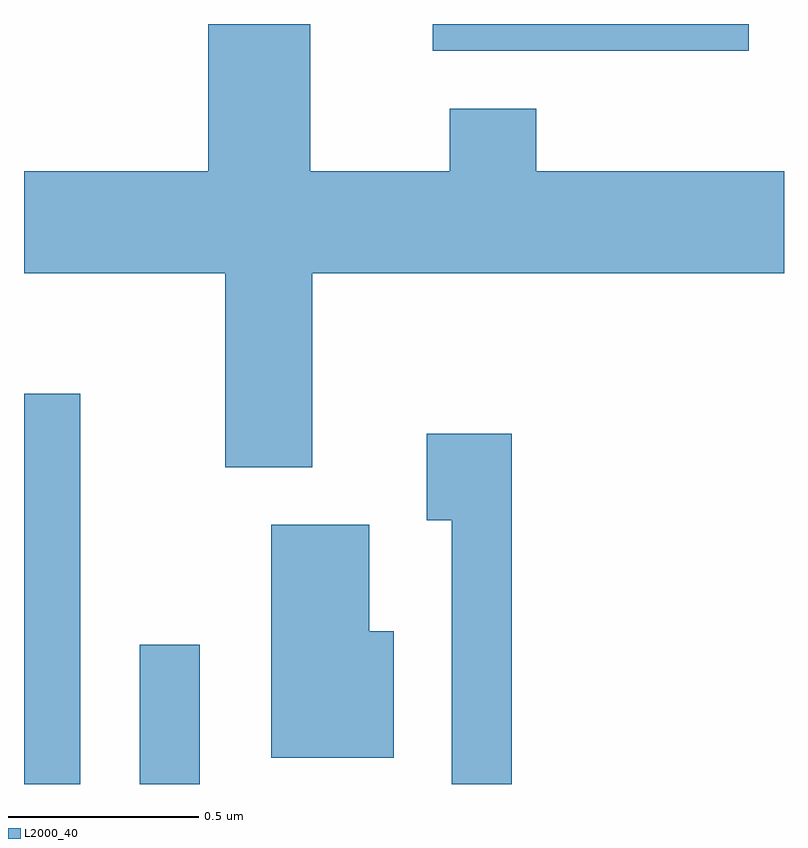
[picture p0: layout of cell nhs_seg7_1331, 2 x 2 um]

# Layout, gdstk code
import gdstk
lib = gdstk.Library(unit=1e-6, precision=1e-09)
def R(c, l, rs):  # rectangles x0, y0, x1, y1
    for r in rs: c.add(gdstk.rectangle(r[:2], r[2:], *l))
def P(c, l, *ps):  # polygons
    for p in ps: c.add(gdstk.Polygon(p, *l))
L2000_40 = (2000, 40)

nhs_seg7_1331 = lib.new_cell('nhs_seg7_1331')
R(nhs_seg7_1331, L2000_40, [(194.611,1766.252,194.759,1767.279), (194.916,1766.252,195.074,1766.618), (195.686,1768.181,196.518,1768.252)])
P(nhs_seg7_1331, L2000_40, [(195.369,1767.596),(196.611,1767.596),(196.611,1767.864),(195.959,1767.864),(195.959,1768.029),(195.731,1768.029),(195.731,1767.864),(195.364,1767.864),(195.364,1768.252),(195.096,1768.252),(195.096,1767.864),(194.611,1767.864),(194.611,1767.596),(195.141,1767.596),(195.141,1767.086),(195.369,1767.086)],
  [(195.894,1767.174),(195.671,1767.174),(195.671,1766.946),(195.736,1766.946),(195.736,1766.252),(195.894,1766.252)],
  [(195.584,1766.654),(195.519,1766.654),(195.519,1766.934),(195.261,1766.934),(195.261,1766.321),(195.584,1766.321)])

lib.write_gds('nhs_seg7_1331.gds')
